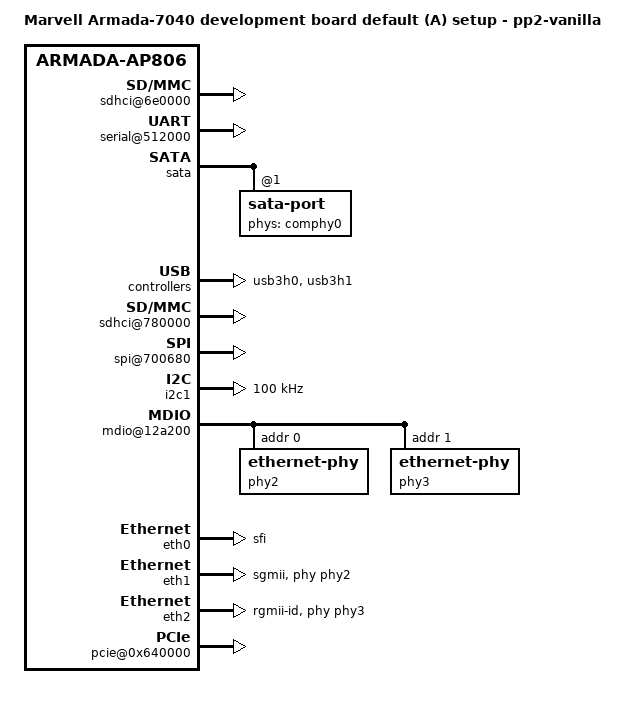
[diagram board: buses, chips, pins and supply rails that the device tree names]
/*
 * Copyright (C) 2016 Marvell Technology Group Ltd.
 *
 * This file is dual-licensed: you can use it either under the terms
 * of the GPLv2 or the X11 license, at your option. Note that this dual
 * licensing only applies to this file, and not this project as a
 * whole.
 *
 *  a) This library is free software; you can redistribute it and/or
 *     modify it under the terms of the GNU General Public License as
 *     published by the Free Software Foundation; either version 2 of the
 *     License, or (at your option) any later version.
 *
 *     This library is distributed in the hope that it will be useful,
 *     but WITHOUT ANY WARRANTY; without even the implied warranty of
 *     MERCHANTABILITY or FITNESS FOR A PARTICULAR PURPOSE.  See the
 *     GNU General Public License for more details.
 *
 * Or, alternatively,
 *
 *  b) Permission is hereby granted, free of charge, to any person
 *     obtaining a copy of this software and associated documentation
 *     files (the "Software"), to deal in the Software without
 *     restriction, including without limitation the rights to use,
 *     copy, modify, merge, publish, distribute, sublicense, and/or
 *     sell copies of the Software, and to permit persons to whom the
 *     Software is furnished to do so, subject to the following
 *     conditions:
 *
 *     The above copyright notice and this permission notice shall be
 *     included in all copies or substantial portions of the Software.
 *
 *     THE SOFTWARE IS PROVIDED "AS IS", WITHOUT WARRANTY OF ANY KIND,
 *     EXPRESS OR IMPLIED, INCLUDING BUT NOT LIMITED TO THE WARRANTIES
 *     OF MERCHANTABILITY, FITNESS FOR A PARTICULAR PURPOSE AND
 *     NONINFRINGEMENT. IN NO EVENT SHALL THE AUTHORS OR COPYRIGHT
 *     HOLDERS BE LIABLE FOR ANY CLAIM, DAMAGES OR OTHER LIABILITY,
 *     WHETHER IN AN ACTION OF CONTRACT, TORT OR OTHERWISE, ARISING
 *     FROM, OUT OF OR IN CONNECTION WITH THE SOFTWARE OR THE USE OR
 *     OTHER DEALINGS IN THE SOFTWARE.
 */

/*
 * Device Tree file for Marvell Armada 7040 development board
 * This board file supports the default (A)  configuration of the board
 */

#include "armada-7040-db.dtsi"

/ {
	model = "Marvell Armada-7040 development board default (A) setup - pp2-vanilla";
	compatible = "marvell,armada7040-db-default", "marvell,armada7040-db", "marvell,armada7040",
			"marvell,armada-ap806-quad", "marvell,armada-ap806";
	#address-cells = <2>;
	#size-cells = <2>;

	chosen { };

	aliases {
		ethernet0 = &eth0;
		ethernet1 = &eth1;
		ethernet2 = &eth2;
	};

	ap806 {
		config-space {
			sdhci@6e0000 {
				status = "okay";
			};
			serial@512000 {
				status = "okay";
			};
			i2c@511000 {
				status = "disabled";
				clock-frequency = <100000>;
			};
		};
	};

	cpn-110-master {
		config-space {
			/delete-node/ppv22@000000;
			serial@702000 {
				status = "disabled";
			};
			serial@702100 {
				status = "disabled";
			};
			serial@702200 {
				status = "disabled";
			};
			serial@702300 {
				status = "disabled";
			};
			sata: sata@540000 {
				status = "okay";

				sata-port@0 {
					status = "disabled";
				};
				sata-port@1 {
					phys = <&comphy0 3 COMPHY_SATA1>;
					phy-names = "comphy";
					status = "okay";
				};
			};
			usb3h0: usb3@500000 {
				status = "okay";
			};
			usb3h1: usb3@510000 {
				status = "okay";
			};
			u3d@520000 {
				status = "disabled";
			};
			udc@524100 {
				status = "disabled";
			};
			sdhci@780000 {
				status = "okay";
			};
			spi@700680 {
				status = "okay";
			};
			i2c1: i2c@701000 {
				status = "okay";
				clock-frequency = <100000>;
			};
			i2c2: i2c@701100 {
				status = "disabled";
			};

			mdio@12a200 {
				#address-cells = <1>;
				#size-cells = <0>;
				phy2: ethernet-phy@2 {
					reg = <0>;
				};
				phy3: ethernet-phy@3 {
					reg = <1>;
				};
			};
			ppv22_vanilla@000000 {
				compatible = "marvell,armada-7k-pp22";
				reg = <0x0 0x100000>, <0x129000 0xb000>;
				clocks = <&cpm_syscon0 1 3>, <&cpm_syscon0 1 9>, <&cpm_syscon0 1 5>;
				clock-names = "pp_clk", "gop_clk", "mg_clk";
				dma-coherent;
				status = "okay";
				eth0: eth0@010000 {
					phy-mode = "sfi";
					interrupts = <ICU_GRP_NSR 39 IRQ_TYPE_LEVEL_HIGH>,
						     <ICU_GRP_NSR 43 IRQ_TYPE_LEVEL_HIGH>,
						     <ICU_GRP_NSR 47 IRQ_TYPE_LEVEL_HIGH>,
						     <ICU_GRP_NSR 51 IRQ_TYPE_LEVEL_HIGH>,
						     <ICU_GRP_NSR 55 IRQ_TYPE_LEVEL_HIGH>,
						     <ICU_GRP_NSR 129 IRQ_TYPE_LEVEL_HIGH>;
					interrupt-names = "tx-cpu0", "tx-cpu1", "tx-cpu2",
							  "tx-cpu3", "rx-shared", "link";
					mac-address = [00 00 00 00 00 01];
					port-id = <0>; /* pp2_port_id */
					gop-port-id = <0>;
					status = "okay";
				};
				eth1: eth1@020000 {
					phy-mode = "sgmii"; /* lane-0 */
					interrupts = <ICU_GRP_NSR 40 IRQ_TYPE_LEVEL_HIGH>,
						     <ICU_GRP_NSR 44 IRQ_TYPE_LEVEL_HIGH>,
						     <ICU_GRP_NSR 48 IRQ_TYPE_LEVEL_HIGH>,
						     <ICU_GRP_NSR 52 IRQ_TYPE_LEVEL_HIGH>,
						     <ICU_GRP_NSR 56 IRQ_TYPE_LEVEL_HIGH>,
						     <ICU_GRP_NSR 128 IRQ_TYPE_LEVEL_HIGH>;
					interrupt-names = "tx-cpu0", "tx-cpu1", "tx-cpu2",
							  "tx-cpu3", "rx-shared", "link";
					mac-address = [00 00 00 00 00 02];
					port-id = <1>; /* pp2_port_id */
					gop-port-id = <2>;
					phy = <&phy2>;
					status = "okay";
				};
				eth2: eth2@030000 {
					phy-mode = "rgmii-id"; /* rgmii-1 */
					interrupts = <ICU_GRP_NSR 41 IRQ_TYPE_LEVEL_HIGH>,
						     <ICU_GRP_NSR 45 IRQ_TYPE_LEVEL_HIGH>,
						     <ICU_GRP_NSR 49 IRQ_TYPE_LEVEL_HIGH>,
						     <ICU_GRP_NSR 53 IRQ_TYPE_LEVEL_HIGH>,
						     <ICU_GRP_NSR 57 IRQ_TYPE_LEVEL_HIGH>,
						     <ICU_GRP_NSR 127 IRQ_TYPE_LEVEL_HIGH>;
					interrupt-names = "tx-cpu0", "tx-cpu1", "tx-cpu2",
							  "tx-cpu3", "rx-shared", "link";
					mac-address = [00 00 00 00 00 03];
					port-id = <2>; /* pp2_port_id */
					gop-port-id = <3>;
					phy = <&phy3>;
					status = "okay";
				};
			};
			comphy {
				status = "disabled";
			};
		};

		pcie@0x640000 {
			status = "okay";
		};
	};
};
